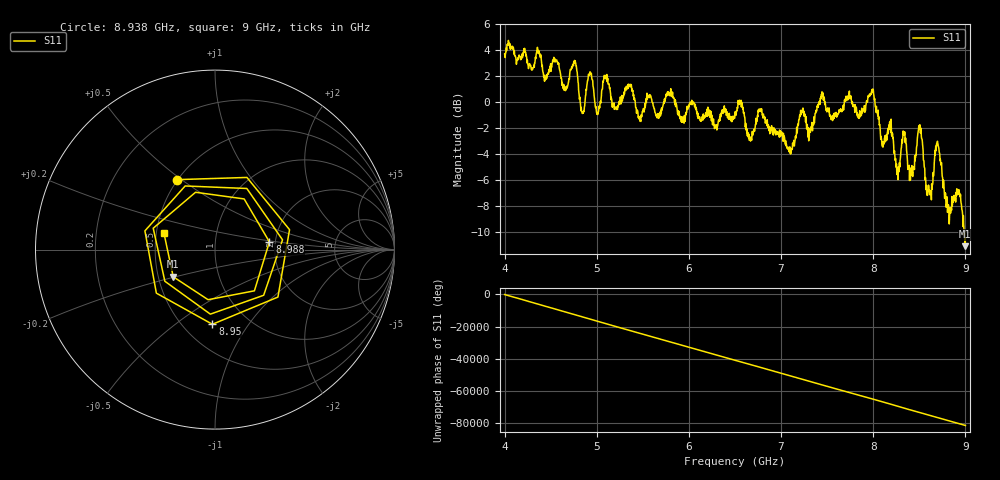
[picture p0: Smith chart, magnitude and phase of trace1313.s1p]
! Created with skrf 1.8.0 (http://scikit-rf.org).
# Hz S RI R 50.0
!freq ReS11 ImS11
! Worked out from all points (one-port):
!   1601 points, 4 GHz to 9 GHz, reference 50 ohm
!   lowest |S11| = -11.1 dB at 8.997 GHz (marker M1), VSWR 1.77, Z = 29.9 - j9.82 ohm
!   |S11| at or under -10 dB: 8.985904 GHz to 8.990621 GHz (4.717 MHz wide, 0.0525 % of centre); 8.991117 GHz to end of sweep
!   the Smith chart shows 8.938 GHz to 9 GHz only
!   S11 on the Smith chart (normalised r, x): 8.938 GHz: 0.49, +0.48; 8.95 GHz: 0.69, -0.69; 8.988 GHz: 1.86, +0.18; 9 GHz: 0.55, +0.11
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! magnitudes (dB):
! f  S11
! 4 GHz  3.7
! 4.625 GHz  1.5
! 4.753 GHz  3.0
! 4.844 GHz  -0.9
! 4.925 GHz  2.3
! 5.006 GHz  -0.8
! 5.094 GHz  2.0
! 5.25 GHz  0.0
! 5.875 GHz  -0.7
! 6.5 GHz  -0.8
! 7.125 GHz  -3.2
! 7.225 GHz  -0.8
! 7.316 GHz  -2.3
! 7.441 GHz  0.4
! 7.75 GHz  0.3
! 7.991 GHz  0.9
! 8.1 GHz  -3.4
! 8.375 GHz  -5.2
! 8.428 GHz  -5.8
! 8.506 GHz  -2.0
! 8.606 GHz  -6.9
! 8.694 GHz  -3.1
! 8.812 GHz  -8.4
! 8.938 GHz  -7.0
! 8.95 GHz  -7.6
! 8.988 GHz  -10.3
! 8.997 GHz  -11.1
! 9 GHz  -10.5
